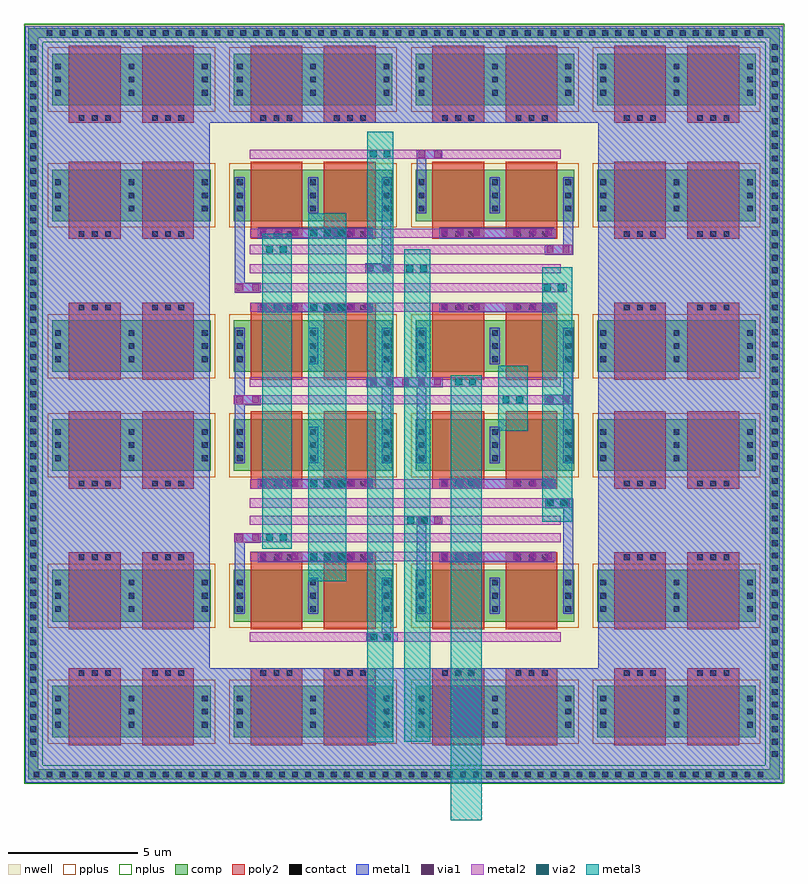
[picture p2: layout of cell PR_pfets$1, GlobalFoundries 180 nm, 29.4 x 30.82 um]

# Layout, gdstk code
import gdstk
lib = gdstk.Library(unit=1e-6, precision=1e-09)
def R(c, l, rs):  # rectangles x0, y0, x1, y1
    for r in rs: c.add(gdstk.rectangle(r[:2], r[2:], *l))
def A(c, l, x, y, w, h, nx, ny, dx, dy):  # array of equal rectangles
    R(c, l, [(x+i*dx, y+j*dy, x+i*dx+w, y+j*dy+h) for i in range(nx) for j in range(ny)])
nwell = (21, 0)
comp = (22, 0)
poly2 = (30, 0)
pplus = (31, 0)
nplus = (32, 0)
contact = (33, 0)
metal1 = (34, 0)
via1 = (35, 0)
metal2 = (36, 0)
via2 = (38, 0)
metal3 = (42, 0)

pfet_1 = lib.new_cell('pfet$1')
R(pfet_1, nwell, [(-0.9,-0.44,3.28,2.44)])
R(pfet_1, comp, [(-0.46,0,0,2), (0,0,2.38,2), (2.38,0,2.84,2)])
R(pfet_1, poly2, [(0.19,-0.3,2.19,2.3), (0.19,2.3,2.19,2.68)])
R(pfet_1, pplus, [(-0.63,-0.24,3.01,2.24)])
A(pfet_1, contact, -0.34, 0.38, 0.22, 0.22, 1, 3, 0, 0.51)
A(pfet_1, contact, 2.5, 0.38, 0.22, 0.22, 1, 3, 0, 0.51)
A(pfet_1, contact, 0.57, 2.38, 0.22, 0.22, 3, 1, 0.51, 0)
R(pfet_1, metal1, [(-0.42,0.3,-0.04,1.7), (2.42,0.3,2.8,1.7), (0.49,2.3,1.89,2.68)])

pr_pfets_1 = lib.new_cell('PR_pfets$1')
R(pr_pfets_1, nwell, [(-8.535,-6.23,20.775,23.085)])
R(pr_pfets_1, comp, [(-8.405,-6.1,20.655,-5.72), (20.275,-5.8,20.655,22.96), (-8.405,-5.735,-8.025,22.96), (-8.285,22.58,20.405,22.96)])
R(pr_pfets_1, nplus, [(-8.575,-6.27,20.825,-5.55), (-8.575,-5.645,-7.855,23.13), (20.105,-5.645,20.825,23.13), (-8.455,22.41,20.575,23.13)])
A(pr_pfets_1, contact, -8.2, -6.02, 0.22, 0.22, 57, 1, 0.5, 0)
A(pr_pfets_1, contact, -8.325, -5.235, 0.22, 0.22, 1, 58, 0, 0.48)
A(pr_pfets_1, contact, 20.355, -5.235, 0.22, 0.22, 1, 58, 0, 0.48)
A(pr_pfets_1, contact, -7.7, 22.66, 0.22, 0.22, 56, 1, 0.5, 0)
R(pr_pfets_1, metal1, [(-8.52,-6.235,-1.39,23.03), (-1.43,-6.235,20.77,-1.8), (13.64,-6.235,20.77,23.03), (4.655,-0.77,5.88,-0.415), (5.26,-0.75,5.64,1.365), (-0.42,1.685,-0.04,3.425), (6.61,1.685,6.99,3.925), (12.29,1.695,12.67,4.515), (0.47,2.3,2.11,2.695), (2.065,2.3,3.295,2.695), (3.27,2.3,4.91,2.695), (7.49,2.3,9.13,2.695), (9.085,2.3,10.315,2.695), (10.29,2.3,11.93,2.695), (-0.42,3.045,0.59,3.425), (-0.42,3.045,0.59,3.425), (6.61,3.74,7.61,4.095), (11.585,4.38,12.67,4.76), (0.47,5.145,2.11,5.53), (2.065,5.145,3.335,5.53), (3.27,5.145,4.91,5.53), (7.49,5.145,9.13,5.53), (9.085,5.145,10.315,5.53), (10.29,5.145,11.93,5.53), (12.29,6.41,12.67,9.22), (-0.42,7.18,-0.04,8.76), (5.26,7.355,5.64,9.41), (6.61,7.355,6.99,9.41), (-0.42,8.265,-0.04,11.075), (-0.42,8.38,0.59,8.76), (-0.42,8.38,0.59,8.76), (11.575,8.39,12.67,8.77), (12.29,8.415,12.67,11.225), (4.67,9.065,7.625,9.445), (5.26,9.09,5.64,11.145), (6.61,9.09,6.99,11.145), (0.47,11.96,2.11,12.34), (2.065,11.96,3.295,12.34), (3.27,11.96,4.91,12.34), (7.49,11.96,9.13,12.34), (9.085,11.96,10.315,12.34), (10.29,11.96,11.93,12.34), (-0.42,12.72,0.59,13.1), (-0.42,12.72,0.59,13.1), (-0.42,12.925,-0.04,15.945), (4.62,13.475,5.64,13.865), (5.26,13.675,5.64,15.895), (11.575,14.195,12.67,14.575), (12.29,14.37,12.67,16.095), (0.47,14.81,2.11,15.23), (2.065,14.81,3.335,15.23), (3.27,14.81,4.91,15.23), (7.49,14.81,9.13,15.23), (9.085,14.81,10.315,15.23), (10.29,14.81,11.93,15.23), (6.61,15.955,6.99,18.175), (6.61,17.905,7.61,18.26), (-1.43,19.29,20.77,23.03)])
R(pr_pfets_1, via1, [(4.71,-0.725,4.97,-0.465), (4.71,-0.725,4.97,-0.465), (4.71,-0.725,4.97,-0.465), (4.71,-0.725,4.97,-0.465), (4.71,-0.725,4.97,-0.465), (4.71,-0.725,4.97,-0.465), (4.71,-0.725,4.97,-0.465), (4.71,-0.725,4.97,-0.465), (5.33,-0.725,5.59,-0.465), (5.33,-0.725,5.59,-0.465), (5.33,-0.725,5.59,-0.465), (5.33,-0.725,5.59,-0.465), (5.33,-0.725,5.59,-0.465), (5.33,-0.725,5.59,-0.465), (5.33,-0.725,5.59,-0.465), (5.33,-0.725,5.59,-0.465), (0.54,2.395,0.8,2.655), (0.54,2.395,0.8,2.655), (0.54,2.395,0.8,2.655), (0.54,2.395,0.8,2.655), (0.54,2.395,0.8,2.655), (0.54,2.395,0.8,2.655), (0.54,2.395,0.8,2.655), (0.54,2.395,0.8,2.655), (1.16,2.395,1.42,2.655), (1.16,2.395,1.42,2.655), (1.16,2.395,1.42,2.655), (1.16,2.395,1.42,2.655), (1.16,2.395,1.42,2.655), (1.16,2.395,1.42,2.655), (1.16,2.395,1.42,2.655), (1.16,2.395,1.42,2.655), (1.78,2.395,2.04,2.655), (1.78,2.395,2.04,2.655), (1.78,2.395,2.04,2.655), (1.78,2.395,2.04,2.655), (1.78,2.395,2.04,2.655), (1.78,2.395,2.04,2.655), (1.78,2.395,2.04,2.655), (1.78,2.395,2.04,2.655), (3.34,2.395,3.6,2.655), (3.34,2.395,3.6,2.655), (3.34,2.395,3.6,2.655), (3.34,2.395,3.6,2.655), (3.34,2.395,3.6,2.655), (3.34,2.395,3.6,2.655), (3.34,2.395,3.6,2.655), (3.34,2.395,3.6,2.655), (3.96,2.395,4.22,2.655), (3.96,2.395,4.22,2.655), (3.96,2.395,4.22,2.655), (3.96,2.395,4.22,2.655), (3.96,2.395,4.22,2.655), (3.96,2.395,4.22,2.655), (3.96,2.395,4.22,2.655), (3.96,2.395,4.22,2.655), (4.58,2.395,4.84,2.655), (4.58,2.395,4.84,2.655), (4.58,2.395,4.84,2.655), (4.58,2.395,4.84,2.655), (4.58,2.395,4.84,2.655), (4.58,2.395,4.84,2.655), (4.58,2.395,4.84,2.655), (4.58,2.395,4.84,2.655), (7.56,2.395,7.82,2.655), (7.56,2.395,7.82,2.655), (7.56,2.395,7.82,2.655), (7.56,2.395,7.82,2.655), (7.56,2.395,7.82,2.655), (7.56,2.395,7.82,2.655), (7.56,2.395,7.82,2.655), (7.56,2.395,7.82,2.655), (8.18,2.395,8.44,2.655), (8.18,2.395,8.44,2.655), (8.18,2.395,8.44,2.655), (8.18,2.395,8.44,2.655), (8.18,2.395,8.44,2.655), (8.18,2.395,8.44,2.655), (8.18,2.395,8.44,2.655), (8.18,2.395,8.44,2.655), (8.8,2.395,9.06,2.655), (8.8,2.395,9.06,2.655), (8.8,2.395,9.06,2.655), (8.8,2.395,9.06,2.655), (8.8,2.395,9.06,2.655), (8.8,2.395,9.06,2.655), (8.8,2.395,9.06,2.655), (8.8,2.395,9.06,2.655), (10.36,2.395,10.62,2.655), (10.36,2.395,10.62,2.655), (10.36,2.395,10.62,2.655), (10.36,2.395,10.62,2.655), (10.36,2.395,10.62,2.655), (10.36,2.395,10.62,2.655), (10.36,2.395,10.62,2.655), (10.36,2.395,10.62,2.655), (10.98,2.395,11.24,2.655), (10.98,2.395,11.24,2.655), (10.98,2.395,11.24,2.655), (10.98,2.395,11.24,2.655), (10.98,2.395,11.24,2.655), (10.98,2.395,11.24,2.655), (10.98,2.395,11.24,2.655), (10.98,2.395,11.24,2.655), (11.6,2.395,11.86,2.655), (11.6,2.395,11.86,2.655), (11.6,2.395,11.86,2.655), (11.6,2.395,11.86,2.655), (11.6,2.395,11.86,2.655), (11.6,2.395,11.86,2.655), (11.6,2.395,11.86,2.655), (11.6,2.395,11.86,2.655), (-0.36,3.125,-0.1,3.385), (0.26,3.125,0.52,3.385), (6.675,3.795,6.935,4.055), (6.675,3.795,6.935,4.055), (6.675,3.795,6.935,4.055), (6.675,3.795,6.935,4.055), (6.675,3.795,6.935,4.055), (6.675,3.795,6.935,4.055), (6.675,3.795,6.935,4.055), (6.675,3.795,6.935,4.055), (7.295,3.795,7.555,4.055), (7.295,3.795,7.555,4.055), (7.295,3.795,7.555,4.055), (7.295,3.795,7.555,4.055), (7.295,3.795,7.555,4.055), (7.295,3.795,7.555,4.055), (7.295,3.795,7.555,4.055), (7.295,3.795,7.555,4.055), (11.655,4.46,11.915,4.72), (12.275,4.46,12.535,4.72), (0.54,5.225,0.8,5.485), (0.54,5.225,0.8,5.485), (0.54,5.225,0.8,5.485), (0.54,5.225,0.8,5.485), (0.54,5.225,0.8,5.485), (0.54,5.225,0.8,5.485), (0.54,5.225,0.8,5.485), (0.54,5.225,0.8,5.485), (1.16,5.225,1.42,5.485), (1.16,5.225,1.42,5.485), (1.16,5.225,1.42,5.485), (1.16,5.225,1.42,5.485), (1.16,5.225,1.42,5.485), (1.16,5.225,1.42,5.485), (1.16,5.225,1.42,5.485), (1.16,5.225,1.42,5.485), (1.78,5.225,2.04,5.485), (1.78,5.225,2.04,5.485), (1.78,5.225,2.04,5.485), (1.78,5.225,2.04,5.485), (1.78,5.225,2.04,5.485), (1.78,5.225,2.04,5.485), (1.78,5.225,2.04,5.485), (1.78,5.225,2.04,5.485), (3.34,5.225,3.6,5.485), (3.34,5.225,3.6,5.485), (3.34,5.225,3.6,5.485), (3.34,5.225,3.6,5.485), (3.34,5.225,3.6,5.485), (3.34,5.225,3.6,5.485), (3.34,5.225,3.6,5.485), (3.34,5.225,3.6,5.485), (3.96,5.225,4.22,5.485), (3.96,5.225,4.22,5.485), (3.96,5.225,4.22,5.485), (3.96,5.225,4.22,5.485), (3.96,5.225,4.22,5.485), (3.96,5.225,4.22,5.485), (3.96,5.225,4.22,5.485), (3.96,5.225,4.22,5.485), (4.58,5.225,4.84,5.485), (4.58,5.225,4.84,5.485), (4.58,5.225,4.84,5.485), (4.58,5.225,4.84,5.485), (4.58,5.225,4.84,5.485), (4.58,5.225,4.84,5.485), (4.58,5.225,4.84,5.485), (4.58,5.225,4.84,5.485), (7.56,5.225,7.82,5.485), (7.56,5.225,7.82,5.485), (7.56,5.225,7.82,5.485), (7.56,5.225,7.82,5.485), (7.56,5.225,7.82,5.485), (7.56,5.225,7.82,5.485), (7.56,5.225,7.82,5.485), (7.56,5.225,7.82,5.485), (8.18,5.225,8.44,5.485), (8.18,5.225,8.44,5.485), (8.18,5.225,8.44,5.485), (8.18,5.225,8.44,5.485), (8.18,5.225,8.44,5.485), (8.18,5.225,8.44,5.485), (8.18,5.225,8.44,5.485), (8.18,5.225,8.44,5.485), (8.8,5.225,9.06,5.485), (8.8,5.225,9.06,5.485), (8.8,5.225,9.06,5.485), (8.8,5.225,9.06,5.485), (8.8,5.225,9.06,5.485), (8.8,5.225,9.06,5.485), (8.8,5.225,9.06,5.485), (8.8,5.225,9.06,5.485), (10.36,5.225,10.62,5.485), (10.36,5.225,10.62,5.485), (10.36,5.225,10.62,5.485), (10.36,5.225,10.62,5.485), (10.36,5.225,10.62,5.485), (10.36,5.225,10.62,5.485), (10.36,5.225,10.62,5.485), (10.36,5.225,10.62,5.485), (10.98,5.225,11.24,5.485), (10.98,5.225,11.24,5.485), (10.98,5.225,11.24,5.485), (10.98,5.225,11.24,5.485), (10.98,5.225,11.24,5.485), (10.98,5.225,11.24,5.485), (10.98,5.225,11.24,5.485), (10.98,5.225,11.24,5.485), (11.6,5.225,11.86,5.485), (11.6,5.225,11.86,5.485), (11.6,5.225,11.86,5.485), (11.6,5.225,11.86,5.485), (11.6,5.225,11.86,5.485), (11.6,5.225,11.86,5.485), (11.6,5.225,11.86,5.485), (11.6,5.225,11.86,5.485), (-0.36,8.46,-0.1,8.72), (0.26,8.46,0.52,8.72), (11.645,8.47,11.905,8.73), (11.645,8.47,11.905,8.73), (11.645,8.47,11.905,8.73), (11.645,8.47,11.905,8.73), (11.645,8.47,11.905,8.73), (11.645,8.47,11.905,8.73), (11.645,8.47,11.905,8.73), (11.645,8.47,11.905,8.73), (12.265,8.47,12.525,8.73), (12.265,8.47,12.525,8.73), (12.265,8.47,12.525,8.73), (12.265,8.47,12.525,8.73), (12.265,8.47,12.525,8.73), (12.265,8.47,12.525,8.73), (12.265,8.47,12.525,8.73), (12.265,8.47,12.525,8.73), (4.815,9.145,5.075,9.405), (4.815,9.145,5.075,9.405), (4.815,9.145,5.075,9.405), (4.815,9.145,5.075,9.405), (4.815,9.145,5.075,9.405), (4.815,9.145,5.075,9.405), (4.815,9.145,5.075,9.405), (4.815,9.145,5.075,9.405), (5.435,9.145,5.695,9.405), (5.435,9.145,5.695,9.405), (5.435,9.145,5.695,9.405), (5.435,9.145,5.695,9.405), (5.435,9.145,5.695,9.405), (5.435,9.145,5.695,9.405), (5.435,9.145,5.695,9.405), (5.435,9.145,5.695,9.405), (6.055,9.145,6.315,9.405), (6.055,9.145,6.315,9.405), (6.055,9.145,6.315,9.405), (6.055,9.145,6.315,9.405), (6.055,9.145,6.315,9.405), (6.055,9.145,6.315,9.405), (6.055,9.145,6.315,9.405), (6.055,9.145,6.315,9.405), (6.675,9.145,6.935,9.405), (6.675,9.145,6.935,9.405), (6.675,9.145,6.935,9.405), (6.675,9.145,6.935,9.405), (6.675,9.145,6.935,9.405), (6.675,9.145,6.935,9.405), (6.675,9.145,6.935,9.405), (6.675,9.145,6.935,9.405), (7.295,9.145,7.555,9.405), (7.295,9.145,7.555,9.405), (7.295,9.145,7.555,9.405), (7.295,9.145,7.555,9.405), (7.295,9.145,7.555,9.405), (7.295,9.145,7.555,9.405), (7.295,9.145,7.555,9.405), (7.295,9.145,7.555,9.405), (0.54,12.04,0.8,12.3), (0.54,12.04,0.8,12.3), (0.54,12.04,0.8,12.3), (0.54,12.04,0.8,12.3), (0.54,12.04,0.8,12.3), (0.54,12.04,0.8,12.3), (0.54,12.04,0.8,12.3), (0.54,12.04,0.8,12.3), (1.16,12.04,1.42,12.3), (1.16,12.04,1.42,12.3), (1.16,12.04,1.42,12.3), (1.16,12.04,1.42,12.3), (1.16,12.04,1.42,12.3), (1.16,12.04,1.42,12.3), (1.16,12.04,1.42,12.3), (1.16,12.04,1.42,12.3), (1.78,12.04,2.04,12.3), (1.78,12.04,2.04,12.3), (1.78,12.04,2.04,12.3), (1.78,12.04,2.04,12.3), (1.78,12.04,2.04,12.3), (1.78,12.04,2.04,12.3), (1.78,12.04,2.04,12.3), (1.78,12.04,2.04,12.3), (3.34,12.04,3.6,12.3), (3.34,12.04,3.6,12.3), (3.34,12.04,3.6,12.3), (3.34,12.04,3.6,12.3), (3.34,12.04,3.6,12.3), (3.34,12.04,3.6,12.3), (3.34,12.04,3.6,12.3), (3.34,12.04,3.6,12.3), (3.96,12.04,4.22,12.3), (3.96,12.04,4.22,12.3), (3.96,12.04,4.22,12.3), (3.96,12.04,4.22,12.3), (3.96,12.04,4.22,12.3), (3.96,12.04,4.22,12.3), (3.96,12.04,4.22,12.3), (3.96,12.04,4.22,12.3), (4.58,12.04,4.84,12.3), (4.58,12.04,4.84,12.3), (4.58,12.04,4.84,12.3), (4.58,12.04,4.84,12.3), (4.58,12.04,4.84,12.3), (4.58,12.04,4.84,12.3), (4.58,12.04,4.84,12.3), (4.58,12.04,4.84,12.3), (7.56,12.04,7.82,12.3), (7.56,12.04,7.82,12.3), (7.56,12.04,7.82,12.3), (7.56,12.04,7.82,12.3), (7.56,12.04,7.82,12.3), (7.56,12.04,7.82,12.3), (7.56,12.04,7.82,12.3), (7.56,12.04,7.82,12.3), (8.18,12.04,8.44,12.3), (8.18,12.04,8.44,12.3), (8.18,12.04,8.44,12.3), (8.18,12.04,8.44,12.3), (8.18,12.04,8.44,12.3), (8.18,12.04,8.44,12.3), (8.18,12.04,8.44,12.3), (8.18,12.04,8.44,12.3), (8.8,12.04,9.06,12.3), (8.8,12.04,9.06,12.3), (8.8,12.04,9.06,12.3), (8.8,12.04,9.06,12.3), (8.8,12.04,9.06,12.3), (8.8,12.04,9.06,12.3), (8.8,12.04,9.06,12.3), (8.8,12.04,9.06,12.3), (10.36,12.04,10.62,12.3), (10.36,12.04,10.62,12.3), (10.36,12.04,10.62,12.3), (10.36,12.04,10.62,12.3), (10.36,12.04,10.62,12.3), (10.36,12.04,10.62,12.3), (10.36,12.04,10.62,12.3), (10.36,12.04,10.62,12.3), (10.98,12.04,11.24,12.3), (10.98,12.04,11.24,12.3), (10.98,12.04,11.24,12.3), (10.98,12.04,11.24,12.3), (10.98,12.04,11.24,12.3), (10.98,12.04,11.24,12.3), (10.98,12.04,11.24,12.3), (10.98,12.04,11.24,12.3), (11.6,12.04,11.86,12.3), (11.6,12.04,11.86,12.3), (11.6,12.04,11.86,12.3), (11.6,12.04,11.86,12.3), (11.6,12.04,11.86,12.3), (11.6,12.04,11.86,12.3), (11.6,12.04,11.86,12.3), (11.6,12.04,11.86,12.3), (-0.36,12.8,-0.1,13.06), (0.26,12.8,0.52,13.06), (4.685,13.555,4.945,13.815), (4.685,13.555,4.945,13.815), (4.685,13.555,4.945,13.815), (4.685,13.555,4.945,13.815), (4.685,13.555,4.945,13.815), (4.685,13.555,4.945,13.815), (4.685,13.555,4.945,13.815), (4.685,13.555,4.945,13.815), (5.305,13.555,5.565,13.815), (5.305,13.555,5.565,13.815), (5.305,13.555,5.565,13.815), (5.305,13.555,5.565,13.815), (5.305,13.555,5.565,13.815), (5.305,13.555,5.565,13.815), (5.305,13.555,5.565,13.815), (5.305,13.555,5.565,13.815), (11.645,14.275,11.905,14.535), (12.265,14.275,12.525,14.535), (0.54,14.93,0.8,15.19), (0.54,14.93,0.8,15.19), (0.54,14.93,0.8,15.19), (0.54,14.93,0.8,15.19), (0.54,14.93,0.8,15.19), (0.54,14.93,0.8,15.19), (0.54,14.93,0.8,15.19), (0.54,14.93,0.8,15.19), (1.16,14.93,1.42,15.19), (1.16,14.93,1.42,15.19), (1.16,14.93,1.42,15.19), (1.16,14.93,1.42,15.19), (1.16,14.93,1.42,15.19), (1.16,14.93,1.42,15.19), (1.16,14.93,1.42,15.19), (1.16,14.93,1.42,15.19), (1.78,14.93,2.04,15.19), (1.78,14.93,2.04,15.19), (1.78,14.93,2.04,15.19), (1.78,14.93,2.04,15.19), (1.78,14.93,2.04,15.19), (1.78,14.93,2.04,15.19), (1.78,14.93,2.04,15.19), (1.78,14.93,2.04,15.19), (3.34,14.93,3.6,15.19), (3.34,14.93,3.6,15.19), (3.34,14.93,3.6,15.19), (3.34,14.93,3.6,15.19), (3.34,14.93,3.6,15.19), (3.34,14.93,3.6,15.19), (3.34,14.93,3.6,15.19), (3.34,14.93,3.6,15.19), (3.96,14.93,4.22,15.19), (3.96,14.93,4.22,15.19), (3.96,14.93,4.22,15.19), (3.96,14.93,4.22,15.19), (3.96,14.93,4.22,15.19), (3.96,14.93,4.22,15.19), (3.96,14.93,4.22,15.19), (3.96,14.93,4.22,15.19), (4.58,14.93,4.84,15.19), (4.58,14.93,4.84,15.19), (4.58,14.93,4.84,15.19), (4.58,14.93,4.84,15.19), (4.58,14.93,4.84,15.19), (4.58,14.93,4.84,15.19), (4.58,14.93,4.84,15.19), (4.58,14.93,4.84,15.19), (7.56,14.93,7.82,15.19), (7.56,14.93,7.82,15.19), (7.56,14.93,7.82,15.19), (7.56,14.93,7.82,15.19), (7.56,14.93,7.82,15.19), (7.56,14.93,7.82,15.19), (7.56,14.93,7.82,15.19), (7.56,14.93,7.82,15.19), (8.18,14.93,8.44,15.19), (8.18,14.93,8.44,15.19), (8.18,14.93,8.44,15.19), (8.18,14.93,8.44,15.19), (8.18,14.93,8.44,15.19), (8.18,14.93,8.44,15.19), (8.18,14.93,8.44,15.19), (8.18,14.93,8.44,15.19), (8.8,14.93,9.06,15.19), (8.8,14.93,9.06,15.19), (8.8,14.93,9.06,15.19), (8.8,14.93,9.06,15.19), (8.8,14.93,9.06,15.19), (8.8,14.93,9.06,15.19), (8.8,14.93,9.06,15.19), (8.8,14.93,9.06,15.19), (10.36,14.93,10.62,15.19), (10.36,14.93,10.62,15.19), (10.36,14.93,10.62,15.19), (10.36,14.93,10.62,15.19), (10.36,14.93,10.62,15.19), (10.36,14.93,10.62,15.19), (10.36,14.93,10.62,15.19), (10.36,14.93,10.62,15.19), (10.98,14.93,11.24,15.19), (10.98,14.93,11.24,15.19), (10.98,14.93,11.24,15.19), (10.98,14.93,11.24,15.19), (10.98,14.93,11.24,15.19), (10.98,14.93,11.24,15.19), (10.98,14.93,11.24,15.19), (10.98,14.93,11.24,15.19), (11.6,14.93,11.86,15.19), (11.6,14.93,11.86,15.19), (11.6,14.93,11.86,15.19), (11.6,14.93,11.86,15.19), (11.6,14.93,11.86,15.19), (11.6,14.93,11.86,15.19), (11.6,14.93,11.86,15.19), (11.6,14.93,11.86,15.19), (6.68,17.95,6.94,18.21), (6.68,17.95,6.94,18.21), (6.68,17.95,6.94,18.21), (6.68,17.95,6.94,18.21), (6.68,17.95,6.94,18.21), (6.68,17.95,6.94,18.21), (6.68,17.95,6.94,18.21), (6.68,17.95,6.94,18.21), (7.3,17.95,7.56,18.21), (7.3,17.95,7.56,18.21), (7.3,17.95,7.56,18.21), (7.3,17.95,7.56,18.21), (7.3,17.95,7.56,18.21), (7.3,17.95,7.56,18.21), (7.3,17.95,7.56,18.21), (7.3,17.95,7.56,18.21)])
R(pr_pfets_1, metal2, [(0.15,-0.77,6.73,-0.415), (6.61,-0.77,12.185,-0.415), (0.17,2.34,11.99,2.695), (-0.445,3.065,12.185,3.42), (0.15,3.74,6.73,4.095), (6.61,3.74,12.185,4.095), (0.15,4.415,12.645,4.77), (0.17,5.145,11.99,5.5), (-0.47,8.4,12.645,8.755), (0.15,9.095,12.185,9.45), (0.17,11.985,11.99,12.34), (-0.425,12.74,12.42,13.095), (0.15,13.475,6.64,13.83), (6.61,13.475,12.185,13.83), (0.16,14.215,12.63,14.57), (0.17,14.85,11.99,15.205), (0.15,17.905,6.73,18.26), (6.61,17.905,12.185,18.26)])
R(pr_pfets_1, via2, [(4.83,-0.72,5.09,-0.46), (4.83,-0.72,5.09,-0.46), (5.36,-0.72,5.62,-0.46), (5.36,-0.72,5.62,-0.46), (2.505,2.38,2.765,2.64), (2.505,2.38,2.765,2.64), (3.035,2.38,3.295,2.64), (3.035,2.38,3.295,2.64), (3.565,2.38,3.825,2.64), (3.565,2.38,3.825,2.64), (0.795,3.125,1.055,3.385), (0.795,3.125,1.055,3.385), (1.325,3.125,1.585,3.385), (1.325,3.125,1.585,3.385), (6.255,3.795,6.515,4.055), (6.255,3.795,6.515,4.055), (6.785,3.795,7.045,4.055), (6.785,3.795,7.045,4.055), (11.645,4.46,11.905,4.72), (11.645,4.46,11.905,4.72), (12.175,4.46,12.435,4.72), (12.175,4.46,12.435,4.72), (2.505,5.2,2.765,5.46), (2.505,5.2,2.765,5.46), (3.035,5.2,3.295,5.46), (3.035,5.2,3.295,5.46), (3.565,5.2,3.825,5.46), (3.565,5.2,3.825,5.46), (9.94,8.45,10.2,8.71), (9.94,8.45,10.2,8.71), (10.47,8.45,10.73,8.71), (10.47,8.45,10.73,8.71), (8.11,9.135,8.37,9.395), (8.11,9.135,8.37,9.395), (8.64,9.135,8.9,9.395), (8.64,9.135,8.9,9.395), (2.505,12.025,2.765,12.285), (2.505,12.025,2.765,12.285), (3.035,12.025,3.295,12.285), (3.035,12.025,3.295,12.285), (3.565,12.025,3.825,12.285), (3.565,12.025,3.825,12.285), (11.535,12.79,11.795,13.05), (11.535,12.79,11.795,13.05), (12.065,12.79,12.325,13.05), (12.065,12.79,12.325,13.05), (6.22,13.52,6.48,13.78), (6.22,13.52,6.48,13.78), (6.75,13.52,7.01,13.78), (6.75,13.52,7.01,13.78), (0.795,14.265,1.055,14.525), (0.795,14.265,1.055,14.525), (1.325,14.265,1.585,14.525), (1.325,14.265,1.585,14.525), (2.505,14.905,2.765,15.165), (2.505,14.905,2.765,15.165), (3.035,14.905,3.295,15.165), (3.035,14.905,3.295,15.165), (3.565,14.905,3.825,15.165), (3.565,14.905,3.825,15.165), (4.805,17.955,5.065,18.215), (4.805,17.955,5.065,18.215), (5.335,17.955,5.595,18.215), (5.335,17.955,5.595,18.215)])
R(pr_pfets_1, metal3, [(7.925,-7.685,9.125,9.54), (4.7,-4.67,5.7,18.945), (6.14,-4.64,7.14,14.41), (2.42,1.565,3.9,15.8), (0.635,2.825,1.785,15), (11.475,3.87,12.625,13.715), (9.765,7.375,10.915,9.89)])
pr_pfets_1.add(gdstk.Reference(pfet_1, (0,7.83), x_reflection=True))
pr_pfets_1.add(gdstk.Reference(pfet_1, (2.84,7.83), x_reflection=True))
pr_pfets_1.add(gdstk.Reference(pfet_1, (7.03,7.83), x_reflection=True))
pr_pfets_1.add(gdstk.Reference(pfet_1, (9.87,7.83), x_reflection=True))
pr_pfets_1.add(gdstk.Reference(pfet_1, (0,0)))
pr_pfets_1.add(gdstk.Reference(pfet_1, (2.84,0)))
pr_pfets_1.add(gdstk.Reference(pfet_1, (9.87,0)))
pr_pfets_1.add(gdstk.Reference(pfet_1, (0,17.49), x_reflection=True))
pr_pfets_1.add(gdstk.Reference(pfet_1, (2.84,17.49), x_reflection=True))
pr_pfets_1.add(gdstk.Reference(pfet_1, (7.03,17.49), x_reflection=True))
pr_pfets_1.add(gdstk.Reference(pfet_1, (9.87,17.49), x_reflection=True))
pr_pfets_1.add(gdstk.Reference(pfet_1, (0,9.66)))
pr_pfets_1.add(gdstk.Reference(pfet_1, (2.84,9.66)))
pr_pfets_1.add(gdstk.Reference(pfet_1, (7.03,9.66)))
pr_pfets_1.add(gdstk.Reference(pfet_1, (9.87,9.66)))
pr_pfets_1.add(gdstk.Reference(pfet_1, (7.03,0)))
pr_pfets_1.add(gdstk.Reference(pfet_1, (0,7.83), x_reflection=True))
pr_pfets_1.add(gdstk.Reference(pfet_1, (2.84,7.83), x_reflection=True))
pr_pfets_1.add(gdstk.Reference(pfet_1, (0,0)))
pr_pfets_1.add(gdstk.Reference(pfet_1, (0,17.49), x_reflection=True))
pr_pfets_1.add(gdstk.Reference(pfet_1, (2.84,17.49), x_reflection=True))
pr_pfets_1.add(gdstk.Reference(pfet_1, (0,9.66)))
pr_pfets_1.add(gdstk.Reference(pfet_1, (2.84,9.66)))
pr_pfets_1.add(gdstk.Reference(pfet_1, (0,-4.48)))
pr_pfets_1.add(gdstk.Reference(pfet_1, (2.84,-4.48)))
pr_pfets_1.add(gdstk.Reference(pfet_1, (9.87,-4.48)))
pr_pfets_1.add(gdstk.Reference(pfet_1, (7.03,-4.48)))
pr_pfets_1.add(gdstk.Reference(pfet_1, (0,-4.48)))
pr_pfets_1.add(gdstk.Reference(pfet_1, (2.84,-4.48)))
pr_pfets_1.add(gdstk.Reference(pfet_1, (0,21.97), x_reflection=True))
pr_pfets_1.add(gdstk.Reference(pfet_1, (2.84,21.97), x_reflection=True))
pr_pfets_1.add(gdstk.Reference(pfet_1, (7.03,21.97), x_reflection=True))
pr_pfets_1.add(gdstk.Reference(pfet_1, (9.87,21.97), x_reflection=True))
pr_pfets_1.add(gdstk.Reference(pfet_1, (0,21.97), x_reflection=True))
pr_pfets_1.add(gdstk.Reference(pfet_1, (2.84,21.97), x_reflection=True))
pr_pfets_1.add(gdstk.Reference(pfet_1, (-7.03,7.83), x_reflection=True))
pr_pfets_1.add(gdstk.Reference(pfet_1, (-4.19,7.83), x_reflection=True))
pr_pfets_1.add(gdstk.Reference(pfet_1, (-7.03,0)))
pr_pfets_1.add(gdstk.Reference(pfet_1, (-4.19,0)))
pr_pfets_1.add(gdstk.Reference(pfet_1, (-7.03,17.49), x_reflection=True))
pr_pfets_1.add(gdstk.Reference(pfet_1, (-4.19,17.49), x_reflection=True))
pr_pfets_1.add(gdstk.Reference(pfet_1, (-7.03,9.66)))
pr_pfets_1.add(gdstk.Reference(pfet_1, (-4.19,9.66)))
pr_pfets_1.add(gdstk.Reference(pfet_1, (-7.03,7.83), x_reflection=True))
pr_pfets_1.add(gdstk.Reference(pfet_1, (-4.19,7.83), x_reflection=True))
pr_pfets_1.add(gdstk.Reference(pfet_1, (-7.03,0)))
pr_pfets_1.add(gdstk.Reference(pfet_1, (-4.19,0)))
pr_pfets_1.add(gdstk.Reference(pfet_1, (-7.03,17.49), x_reflection=True))
pr_pfets_1.add(gdstk.Reference(pfet_1, (-4.19,17.49), x_reflection=True))
pr_pfets_1.add(gdstk.Reference(pfet_1, (-7.03,9.66)))
pr_pfets_1.add(gdstk.Reference(pfet_1, (-4.19,9.66)))
pr_pfets_1.add(gdstk.Reference(pfet_1, (-7.03,-4.48)))
pr_pfets_1.add(gdstk.Reference(pfet_1, (-4.19,-4.48)))
pr_pfets_1.add(gdstk.Reference(pfet_1, (-7.03,-4.48)))
pr_pfets_1.add(gdstk.Reference(pfet_1, (-4.19,-4.48)))
pr_pfets_1.add(gdstk.Reference(pfet_1, (-7.03,21.97), x_reflection=True))
pr_pfets_1.add(gdstk.Reference(pfet_1, (-4.19,21.97), x_reflection=True))
pr_pfets_1.add(gdstk.Reference(pfet_1, (-7.03,21.97), x_reflection=True))
pr_pfets_1.add(gdstk.Reference(pfet_1, (-4.19,21.97), x_reflection=True))
pr_pfets_1.add(gdstk.Reference(pfet_1, (14.06,7.83), x_reflection=True))
pr_pfets_1.add(gdstk.Reference(pfet_1, (16.9,7.83), x_reflection=True))
pr_pfets_1.add(gdstk.Reference(pfet_1, (16.9,0)))
pr_pfets_1.add(gdstk.Reference(pfet_1, (14.06,17.49), x_reflection=True))
pr_pfets_1.add(gdstk.Reference(pfet_1, (16.9,17.49), x_reflection=True))
pr_pfets_1.add(gdstk.Reference(pfet_1, (14.06,9.66)))
pr_pfets_1.add(gdstk.Reference(pfet_1, (16.9,9.66)))
pr_pfets_1.add(gdstk.Reference(pfet_1, (14.06,0)))
pr_pfets_1.add(gdstk.Reference(pfet_1, (16.9,-4.48)))
pr_pfets_1.add(gdstk.Reference(pfet_1, (14.06,-4.48)))
pr_pfets_1.add(gdstk.Reference(pfet_1, (14.06,21.97), x_reflection=True))
pr_pfets_1.add(gdstk.Reference(pfet_1, (16.9,21.97), x_reflection=True))

lib.write_gds('PR_pfets_1.gds')
